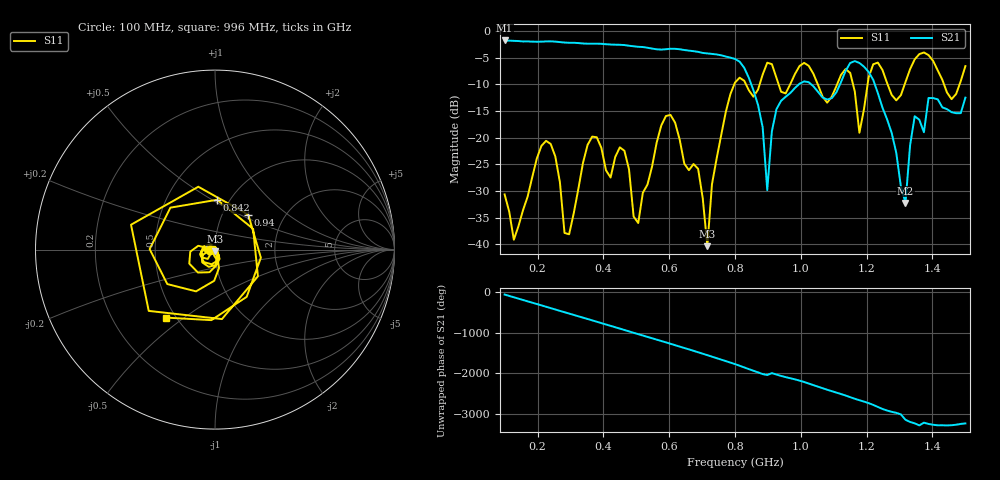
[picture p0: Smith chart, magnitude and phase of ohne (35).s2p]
! NanoVNA-App
! Date: 2025-09-25 14:21:04
! Start: 100MHz Stop: 1,5GHz Points: 101
! S-Parameter data: F S11 S21 S12 S22
# Hz S RI R 50
!  Frequency  S11_Real  S11_Imag  S21_Real  S21_Imag  S12_Real  S12_Imag  S22_Real  S22_Imag
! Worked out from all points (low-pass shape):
!   101 points, 100 MHz to 1.5 GHz, reference 50 ohm
!   highest |S21| = -1.79 dB at 100 MHz (marker M1); lowest = -32.2 dB at 1.318 GHz (marker M2)
!   |S21| within 3 dB of the highest: start of sweep to 771.3 MHz
!   lowest |S11| = -40.3 dB at 716 MHz (marker M3), VSWR 1.02, Z = 49.8 - j0.944 ohm
!   |S11| at or under -10 dB: start of sweep to 798 MHz; 833.2 MHz to 875 MHz (41.83 MHz wide, 4.9 % of centre); 1.051 GHz to 1.11 GHz (59.02 MHz wide, 5.46 % of centre) (the widest 3 of 7)
!   S12 and S22 are empty: the file has one direction only
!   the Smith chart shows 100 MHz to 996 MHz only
!   S11 on the Smith chart (normalised r, x): 100 MHz: 0.94, -0.01; 842 MHz: 0.88, +0.53; 940 MHz: 1.32, +0.56; 996 MHz: 0.44, -0.43
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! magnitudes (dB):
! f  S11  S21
! 100 MHz  -30.6  -1.8
! 128 MHz  -39.1  -1.9
! 226 MHz  -20.6  -2.0
! 296 MHz  -38.1  -2.2
! 338 MHz  -24.8  -2.4
! 464 MHz  -22.5  -2.7
! 506 MHz  -36.0  -3.0
! 576 MHz  -17.7  -3.5
! 688 MHz  -25.9  -3.9
! 716 MHz  -40.3  -4.2
! 800 MHz  -9.7  -5.3
! 842 MHz  -11.1  -8.8
! 898 MHz  -6.0  -29.8
! 940 MHz  -11.4  -13.1
! 996 MHz  -6.6  -9.9
! 1.038 GHz  -8.0  -10.4
! 1.178 GHz  -19.1  -6.0
! 1.22 GHz  -6.3  -9.2
! 1.276 GHz  -12.0  -19.1
! 1.318 GHz  -9.6  -32.2
! 1.346 GHz  -5.3  -16.0
! 1.5 GHz  -6.6  -12.5
